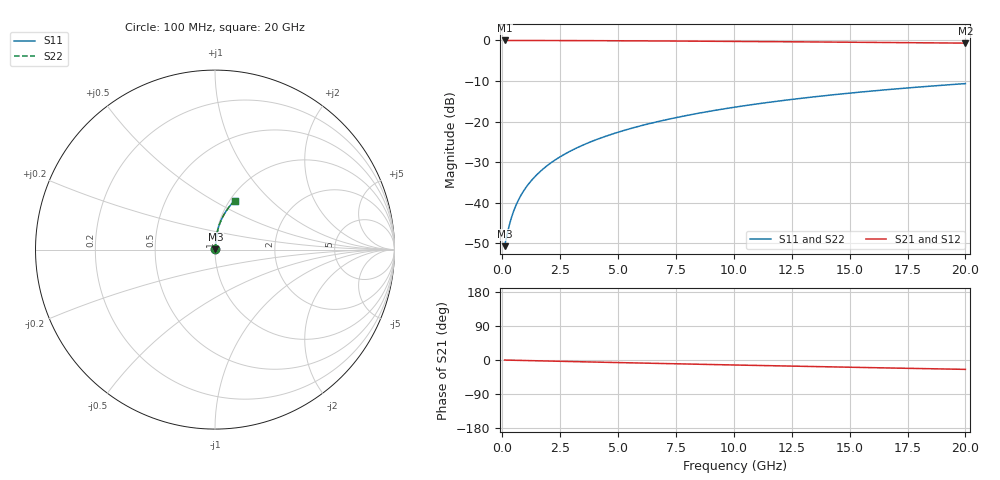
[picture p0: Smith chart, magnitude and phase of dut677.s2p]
! Touchstone file exported from HFSS 2024.1.0
!  File:  C:/UserFiles/LocalFiles/RDL_TSV_Batchsim/temp_RDL_bottom_677_1779786422.aedt
!  Generated:  05:09:47 PM May 26, 2026
!  Design:  RDL_bottom
!  Project:  temp_RDL_bottom_677_1779786422
!  Setup:  Setup1
!  Solution:  Sweep
! Variables:
!  dtsv = 10.80580581um
!  hbump = 3um
!  htsv = 74.92um
!  ldown = 293.64um
!  lrdl = 100um
!  p = 40
!  p1 = 47.74um
!  rhole = 1um
!  t = 450um
!  tdown = 2.95um
!  trdl = 3.915915916um
!  wdown = 15.51um
!  wrdl = 20um
# GHz S MA R 50.000000
! Terminal data exported
! Port[1] = RDL1_T1
! Port[2] = RDL1_T2
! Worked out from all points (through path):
!   200 points, 100 MHz to 20 GHz, reference 50 ohm
!   highest |S21| = -0.02 dB at 100 MHz (marker M1); lowest = -0.7 dB at 20 GHz (marker M2)
!   group delay of S21, straight-line fit = 3.42 ps
!   lowest |S11| = -50.7 dB at 100 MHz (marker M3), VSWR 1.01, Z = 50.2 + j0.155 ohm
!   |S11| at or under -10 dB: start of sweep to end of sweep
!   |S22| runs from -50.7 to -10.7 dB; largest |S21 - S12| = 3.9e-15
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0.1  0.002912 31.9  0.9975 -0.1  0.9975 -0.1  0.002912 31.9
! Gamma 0 0 0 0
! Port Impedance 50 0 50 0
0.2  0.003968 50.6  0.9975 -0.3  0.9975 -0.3  0.003968 50.6
0.3  0.005252 60.6  0.9974 -0.4  0.9974 -0.4  0.005252 60.6
0.4  0.006616 66.4  0.9973 -0.6  0.9973 -0.6  0.006616 66.4
0.5  0.008008 70.1  0.9972 -0.7  0.9972 -0.7  0.008008 70.1
0.6  0.009412 72.7  0.9971 -0.8  0.9971 -0.8  0.009412 72.7
0.8  0.01224 76.2  0.997 -1.1  0.997 -1.1  0.01224 76.2
1.1  0.01651 79.2  0.9967 -1.5  0.9967 -1.5  0.01651 79.2
1.3  0.01937 80.4  0.9965 -1.8  0.9965 -1.8  0.01937 80.4
1.6  0.02369 81.7  0.9962 -2.2  0.9962 -2.2  0.02369 81.7
2.1  0.03094 83.0  0.9955 -2.9  0.9955 -2.9  0.03094 83.0
2.7  0.03971 83.7  0.9946 -3.7  0.9946 -3.7  0.03971 83.7
3.5  0.05149 84.0  0.993 -4.8  0.993 -4.8  0.05149 84.0
4.2  0.06189 84.0  0.9913 -5.7  0.9913 -5.7  0.06189 84.0
5  0.07386 83.7  0.9892 -6.8  0.9892 -6.8  0.07386 83.7
5.9  0.08742 83.2  0.9865 -8.0  0.9865 -8.0  0.08742 83.1
6.8  0.101 82.5  0.9835 -9.1  0.9835 -9.1  0.101 82.5
8.3  0.1239 81.2  0.978 -11.0  0.978 -11.0  0.1239 81.2
10.1  0.1512 79.3  0.9709 -13.3  0.9709 -13.3  0.1512 79.3
13.4  0.2006 75.7  0.9567 -17.2  0.9567 -17.2  0.2006 75.7
16.7  0.2481 71.9  0.9413 -21.0  0.9413 -21.0  0.2481 71.9
20  0.2933 68.1  0.9249 -24.7  0.9249 -24.7  0.2933 68.1
